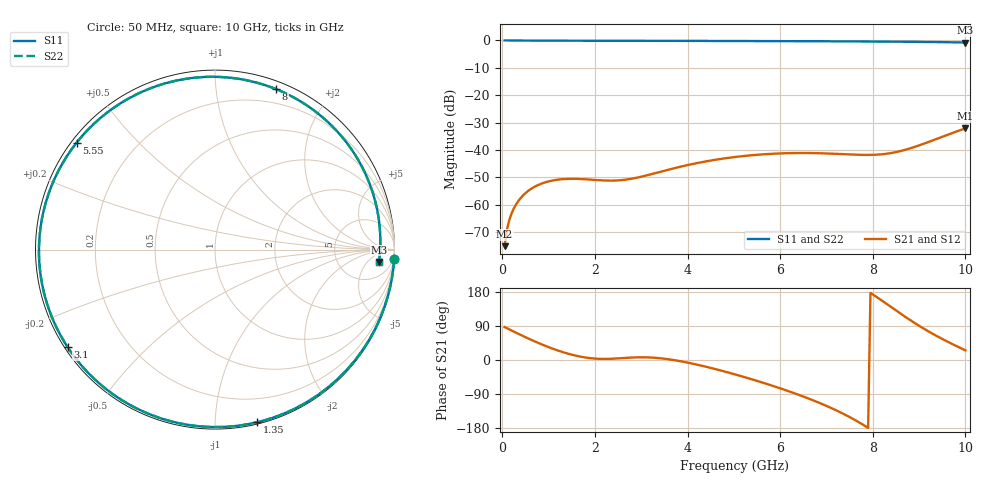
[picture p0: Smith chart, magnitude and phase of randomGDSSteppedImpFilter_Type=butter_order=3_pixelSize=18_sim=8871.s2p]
! freq	dB(S11)	phase(S11)	dB(S12)	phase(S12)
!  dB(S21)	phase(S21)	dB(S22)	phase(S22)
!S-par simulation data
#  GHz  S  DB  R 50
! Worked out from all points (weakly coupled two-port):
!   200 points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, 50 MHz to 10 GHz, reference 50 ohm
!   highest |S21| = -32.10 dB at 10 GHz (marker M1); lowest = -75.2 dB at 50 MHz (marker M2)
!   lowest |S11| = -0.8 dB at 10 GHz (marker M3), VSWR 22.89, Z = 663 - j564 ohm
!   |S11| at or under -10 dB: nowhere
!   |S22| runs from -0.8 to 0.0 dB; largest |S21 - S12| = 0
!   S11 on the Smith chart (normalised r, x): 50 MHz: 0, -37; 1.35 GHz: 0.01, -1.27; 3.1 GHz: 0.01, -0.30; 5.55 GHz: 0.01, +0.34; 8 GHz: 0.07, +1.45; 10 GHz: 13, -11
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0.05  -0.00 -3.1  -75.15 86.9  -75.15 86.9  -0.00 -3.1
0.1  -0.01 -6.1  -69.15 83.9  -69.15 83.9  -0.01 -6.1
0.15  -0.01 -9.2  -65.67 80.8  -65.67 80.8  -0.01 -9.2
0.25  -0.02 -15.2  -61.34 74.8  -61.34 74.8  -0.02 -15.2
0.4  -0.04 -24.1  -57.50 66.0  -57.50 66.0  -0.04 -24.1
0.8  -0.06 -47.2  -52.62 43.8  -52.62 43.8  -0.06 -47.2
1.05  -0.07 -60.9  -51.29 31.6  -51.29 31.6  -0.07 -60.9
1.35  -0.09 -76.3  -50.61 19.1  -50.61 19.1  -0.09 -76.3
1.75  -0.10 -95.1  -50.66 7.5  -50.66 7.5  -0.10 -95.1
2.45  -0.12 -123.7  -51.17 3.9  -51.17 3.9  -0.12 -123.8
3.1  -0.14 -146.6  -49.37 7.1  -49.37 7.1  -0.14 -146.6
3.4  -0.14 -156.2  -48.04 4.7  -48.04 4.7  -0.14 -156.2
4.2  -0.17 179.9  -44.82 -12.1  -44.82 -12.1  -0.17 179.9
5.05  -0.20 156.1  -42.53 -38.8  -42.53 -38.8  -0.20 156.1
5.55  -0.22 142.3  -41.70 -56.9  -41.70 -56.9  -0.22 142.2
6.7  -0.29 109.6  -41.15 -105.8  -41.15 -105.8  -0.29 109.6
7.35  -0.33 90.0  -41.54 -141.1  -41.54 -141.1  -0.33 89.9
8  -0.39 69.1  -41.79 173.1  -41.79 173.1  -0.39 69.0
8.35  -0.42 57.2  -41.26 143.8  -41.26 143.8  -0.42 57.2
9.25  -0.56 24.8  -36.80 72.2  -36.80 72.2  -0.56 24.8
9.65  -0.65 9.5  -34.25 46.2  -34.25 46.2  -0.66 9.5
10  -0.76 -4.3  -32.10 25.5  -32.10 25.5  -0.76 -4.3
